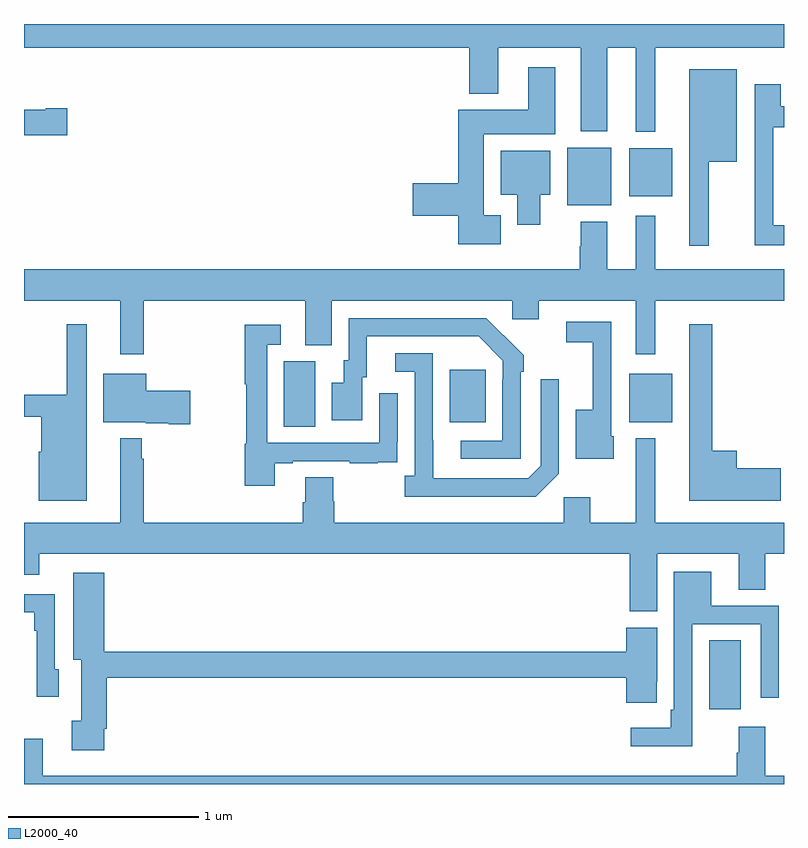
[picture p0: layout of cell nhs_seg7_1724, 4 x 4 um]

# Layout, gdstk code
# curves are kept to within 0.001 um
import gdstk
lib = gdstk.Library(unit=1e-6, precision=1e-09)
def R(c, l, rs):  # rectangles x0, y0, x1, y1
    for r in rs: c.add(gdstk.rectangle(r[:2], r[2:], *l))
def P(c, l, *ps):  # polygons
    for p in ps: c.add(gdstk.Polygon(p, *l))
L2000_40 = (2000, 40)

nhs_seg7_1724 = lib.new_cell('nhs_seg7_1724')
R(nhs_seg7_1724, L2000_40, [(230.606,1070.394,230.773,1070.756), (228.368,1071.88,228.532,1072.224), (229.241,1071.905,229.429,1072.18), (230.186,1071.905,230.413,1072.159), (229.859,1073.045,230.092,1073.35), (230.186,1073.093,230.413,1073.347)])
P(nhs_seg7_1724, L2000_40, [(230.323,1073.876),(231,1073.876),(231,1074),(227,1074),(227,1073.876),(229.343,1073.876),(229.343,1073.633),(229.495,1073.633),(229.495,1073.876),(229.931,1073.876),(229.931,1073.435),(230.071,1073.435),(230.071,1073.876),(230.219,1073.876),(230.219,1073.432),(230.323,1073.432)],
  [(229.51,1072.993),(229.42,1072.993),(229.42,1073.42),(229.795,1073.42),(229.795,1073.773),(229.655,1073.773),(229.655,1073.548),(229.286,1073.548),(229.286,1073.162),(229.047,1073.162),(229.047,1072.991),(229.286,1072.991),(229.286,1072.841),(229.51,1072.841)],
  [(230.605,1073.276),(230.752,1073.276),(230.752,1073.761),(230.501,1073.761),(230.501,1072.833),(230.605,1072.833)],
  [(231,1072.941),(230.943,1072.941),(230.943,1073.457),(231,1073.457),(231,1073.566),(230.983,1073.566),(230.983,1073.683),(230.847,1073.683),(230.847,1073.18),(230.845,1073.18),(230.845,1072.836),(231,1072.836)],
  [(227.227,1073.556),(227.114,1073.556),(227.114,1073.548),(227,1073.548),(227,1073.414),(227.227,1073.414)],
  [(229.717,1073.102),(229.771,1073.102),(229.771,1073.332),(229.508,1073.332),(229.508,1073.102),(229.595,1073.102),(229.595,1072.944),(229.717,1072.944)],
  [(227.629,1072.544),(228.479,1072.544),(228.479,1072.309),(228.619,1072.309),(228.619,1072.544),(229.569,1072.544),(229.569,1072.446),(229.708,1072.446),(229.708,1072.544),(230.219,1072.544),(230.219,1072.263),(230.323,1072.263),(230.323,1072.544),(231,1072.544),(231,1072.708),(230.323,1072.708),(230.323,1072.99),(230.219,1072.99),(230.219,1072.708),(230.071,1072.708),(230.071,1072.96),(229.931,1072.96),(229.931,1072.829),(229.924,1072.829),(229.924,1072.708),(227,1072.708),(227,1072.544),(227.507,1072.544),(227.507,1072.263),(227.629,1072.263)],
  [(229.614,1072.169),(229.629,1072.169),(229.629,1072.257),(229.432,1072.452),(228.708,1072.452),(228.708,1072.23),(228.683,1072.23),(228.683,1072.111),(228.62,1072.111),(228.62,1071.915),(228.781,1071.915),(228.781,1072.14),(228.805,1072.14),(228.805,1072.356),(229.393,1072.356),(229.521,1072.227),(229.521,1072.127),(229.518,1072.127),(229.518,1071.807),(229.299,1071.807),(229.299,1071.711),(229.614,1071.711)],
  [(230.104,1071.831),(230.091,1071.831),(230.091,1072.434),(229.854,1072.434),(229.854,1072.326),(229.994,1072.326),(229.994,1071.97),(229.904,1071.97),(229.904,1071.713),(230.104,1071.713)],
  [(230.983,1071.662),(230.752,1071.662),(230.752,1071.754),(230.623,1071.754),(230.623,1072.42),(230.501,1072.42),(230.501,1071.491),(230.983,1071.491)],
  [(227.329,1072.42),(227.225,1072.42),(227.225,1072.049),(227,1072.049),(227,1071.932),(227.09,1071.932),(227.09,1071.75),(227.078,1071.75),(227.078,1071.491),(227.329,1071.491)],
  [(228.319,1071.687),(228.415,1071.687),(228.415,1071.699),(228.715,1071.699),(228.715,1071.687),(228.863,1071.687),(228.863,1071.693),(228.965,1071.693),(228.965,1071.802),(228.966,1071.802),(228.966,1072.057),(228.87,1072.057),(228.87,1071.795),(228.279,1071.795),(228.279,1072.311),(228.352,1072.311),(228.352,1072.417),(228.163,1072.417),(228.163,1072.104),(228.171,1072.104),(228.171,1071.792),(228.163,1071.792),(228.163,1071.57),(228.319,1071.57)],
  [(229.815,1071.633),(229.815,1072.129),(229.719,1072.129),(229.719,1071.675),(229.653,1071.609),(229.153,1071.609),(229.152,1072.266),(228.954,1072.266),(228.954,1072.17),(229.056,1072.17),(229.056,1071.622),(229.005,1071.622),(229.005,1071.512),(229.694,1071.512)],
  [(227.875,1072.071),(227.644,1072.071),(227.644,1072.159),(227.417,1072.159),(227.417,1071.905),(227.64,1071.905),(227.64,1071.899),(227.762,1071.899),(227.762,1071.893),(227.875,1071.893)],
  [(230.332,1071.212),(230.762,1071.212),(230.762,1071.022),(230.902,1071.022),(230.902,1071.212),(231,1071.212),(231,1071.376),(230.323,1071.376),(230.323,1071.82),(230.219,1071.82),(230.219,1071.376),(229.981,1071.376),(229.981,1071.508),(229.842,1071.508),(229.842,1071.376),(228.632,1071.376),(228.632,1071.489),(228.627,1071.489),(228.627,1071.614),(228.479,1071.614),(228.479,1071.482),(228.467,1071.482),(228.467,1071.376),(227.629,1071.376),(227.629,1071.713),(227.621,1071.713),(227.621,1071.82),(227.507,1071.82),(227.507,1071.376),(227,1071.376),(227,1071.102),(227.08,1071.102),(227.08,1071.212),(230.189,1071.212),(230.189,1070.908),(230.332,1070.908)],
  [(230.517,1070.841),(230.877,1070.841),(230.877,1070.454),(230.973,1070.454),(230.973,1070.937),(230.617,1070.937),(230.617,1071.118),(230.421,1071.118),(230.421,1070.392),(230.405,1070.392),(230.405,1070.296),(230.193,1070.296),(230.193,1070.198),(230.517,1070.198)],
  [(227.422,1070.29),(227.435,1070.29),(227.435,1070.56),(230.171,1070.56),(230.171,1070.427),(230.331,1070.427),(230.331,1070.539),(230.332,1070.539),(230.332,1070.823),(230.171,1070.823),(230.171,1070.696),(227.422,1070.696),(227.422,1071.112),(227.258,1071.112),(227.258,1070.654),(227.3,1070.654),(227.3,1070.334),(227.25,1070.334),(227.25,1070.178),(227.422,1070.178)],
  [(227.184,1070.604),(227.163,1070.604),(227.163,1071),(227,1071),(227,1070.903),(227.055,1070.903),(227.055,1070.807),(227.067,1070.807),(227.067,1070.46),(227.184,1070.46)],
  [(231,1070.044),(230.902,1070.044),(230.902,1070.302),(230.762,1070.302),(230.762,1070.165),(230.75,1070.165),(230.75,1070.044),(227.098,1070.044),(227.098,1070.239),(227,1070.239),(227,1070),(231,1070)])

lib.write_gds('nhs_seg7_1724.gds')
